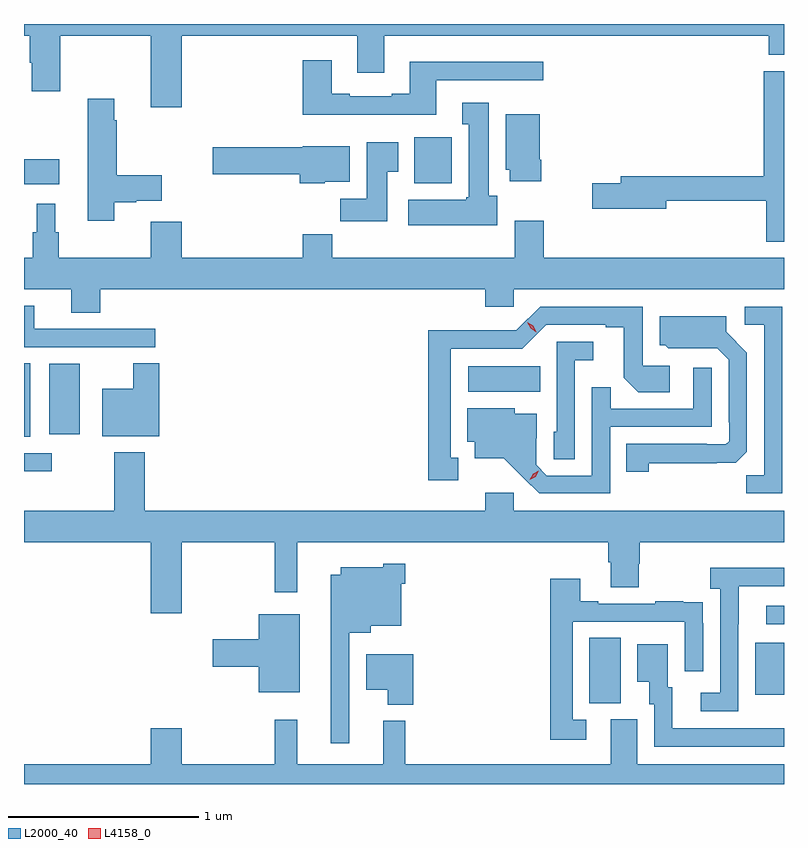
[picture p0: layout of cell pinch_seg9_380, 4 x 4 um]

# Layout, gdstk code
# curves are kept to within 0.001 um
import gdstk
lib = gdstk.Library(unit=1e-6, precision=1e-09)
def R(c, l, rs):  # rectangles x0, y0, x1, y1
    for r in rs: c.add(gdstk.rectangle(r[:2], r[2:], *l))
def P(c, l, *ps):  # polygons
    for p in ps: c.add(gdstk.Polygon(p, *l))
L2000_40 = (2000, 40)
L4158_0 = (4158, 0)

pinch_seg9_380 = lib.new_cell('pinch_seg9_380')
R(pinch_seg9_380, L2000_40, [(323.162,1232.869,323.326,1233.212), (324.035,1232.913,324.186,1233.187), (324.093,1233.285,324.186,1233.381), (320.186,1234.088,320.332,1234.185), (320.186,1234.27,320.218,1234.658), (320.318,1234.284,320.479,1234.654), (322.524,1234.508,322.904,1234.642), (320.186,1235.6,320.371,1235.73), (322.241,1235.606,322.438,1235.848)])
P(pinch_seg9_380, L2000_40, [(321.016,1236.38),(321.941,1236.38),(321.941,1236.186),(322.081,1236.186),(322.081,1236.38),(324.107,1236.38),(324.107,1236.281),(324.186,1236.281),(324.186,1236.443),(320.186,1236.443),(320.186,1236.38),(320.216,1236.38),(320.216,1236.238),(320.228,1236.238),(320.228,1236.09),(320.376,1236.09),(320.376,1236.38),(320.852,1236.38),(320.852,1236.006),(321.016,1236.006)],
  [(322.357,1236.147),(322.918,1236.147),(322.918,1236.244),(322.217,1236.244),(322.217,1236.076),(322.121,1236.076),(322.121,1236.063),(321.901,1236.063),(321.901,1236.076),(321.805,1236.076),(321.805,1236.253),(321.653,1236.253),(321.653,1235.966),(322.357,1235.966)],
  [(324.186,1236.194),(324.08,1236.194),(324.08,1235.642),(323.327,1235.642),(323.327,1235.606),(323.178,1235.606),(323.178,1235.471),(323.566,1235.471),(323.566,1235.514),(324.092,1235.514),(324.092,1235.298),(324.186,1235.298)],
  [(320.662,1235.506),(320.778,1235.506),(320.778,1235.513),(320.911,1235.513),(320.911,1235.648),(320.675,1235.648),(320.675,1235.936),(320.662,1235.936),(320.662,1236.049),(320.521,1236.049),(320.521,1235.834),(320.522,1235.834),(320.522,1235.408),(320.662,1235.408)],
  [(322.678,1235.538),(322.633,1235.538),(322.633,1236.028),(322.493,1236.028),(322.493,1235.915),(322.526,1235.915),(322.526,1235.532),(322.513,1235.532),(322.513,1235.518),(322.209,1235.518),(322.209,1235.384),(322.678,1235.384)],
  [(322.908,1235.728),(322.9,1235.728),(322.9,1235.968),(322.721,1235.968),(322.721,1235.676),(322.742,1235.676),(322.742,1235.616),(322.908,1235.616)],
  [(322.099,1235.665),(322.156,1235.665),(322.156,1235.821),(321.989,1235.821),(321.989,1235.524),(321.85,1235.524),(321.85,1235.406),(322.099,1235.406)],
  [(321.768,1235.612),(321.901,1235.612),(321.901,1235.8),(321.654,1235.8),(321.654,1235.795),(321.18,1235.795),(321.18,1235.653),(321.638,1235.653),(321.638,1235.606),(321.768,1235.606)],
  [(320.369,1235.346),(320.35,1235.346),(320.35,1235.497),(320.252,1235.497),(320.252,1235.346),(320.233,1235.346),(320.233,1235.212),(320.186,1235.212),(320.186,1235.048),(320.435,1235.048),(320.435,1234.924),(320.588,1234.924),(320.588,1235.048),(322.613,1235.048),(322.613,1234.955),(322.764,1234.955),(322.764,1235.048),(324.186,1235.048),(324.186,1235.212),(322.922,1235.212),(322.922,1235.407),(322.769,1235.407),(322.769,1235.212),(321.809,1235.212),(321.809,1235.336),(321.653,1235.336),(321.653,1235.212),(321.016,1235.212),(321.016,1235.401),(320.852,1235.401),(320.852,1235.212),(320.369,1235.212)],
  [(320.878,1234.839),(320.24,1234.839),(320.24,1234.959),(320.186,1234.959),(320.186,1234.743),(320.878,1234.743)],
  [(324.177,1234.956),(323.979,1234.956),(323.979,1234.86),(324.081,1234.86),(324.081,1234.067),(323.986,1234.067),(323.986,1233.972),(324.177,1233.972)],
  [(322.471,1234.161),(322.432,1234.161),(322.432,1234.734),(322.809,1234.734),(322.935,1234.86),(323.249,1234.86),(323.249,1234.848),(323.343,1234.848),(323.343,1234.58),(323.419,1234.504),(323.584,1234.504),(323.584,1234.644),(323.442,1234.644),(323.442,1234.956),(322.902,1234.956),(322.776,1234.83),(322.554,1234.83),(322.554,1234.832),(322.314,1234.832),(322.314,1234.041),(322.471,1234.041)],
  [(323.475,1234.132),(323.932,1234.133),(323.991,1234.192),(323.991,1234.714),(323.881,1234.824),(323.881,1234.906),(323.531,1234.906),(323.531,1234.752),(323.562,1234.752),(323.578,1234.736),(323.835,1234.737),(323.895,1234.677),(323.895,1234.348),(323.898,1234.348),(323.898,1234.248),(323.88,1234.23),(323.78,1234.23),(323.78,1234.233),(323.356,1234.233),(323.356,1234.086),(323.475,1234.086)],
  [(323.085,1234.673),(323.182,1234.673),(323.182,1234.77),(322.989,1234.77),(322.989,1234.296),(322.974,1234.296),(322.974,1234.153),(323.085,1234.153)],
  [(320.897,1234.658),(320.762,1234.658),(320.762,1234.522),(320.597,1234.522),(320.597,1234.274),(320.897,1234.274)],
  [(323.271,1234.323),(323.805,1234.323),(323.805,1234.633),(323.709,1234.633),(323.709,1234.419),(323.273,1234.419),(323.273,1234.532),(323.175,1234.532),(323.175,1234.065),(322.938,1234.065),(322.881,1234.122),(322.881,1234.264),(322.885,1234.264),(322.885,1234.393),(322.77,1234.393),(322.77,1234.42),(322.52,1234.42),(322.52,1234.244),(322.559,1234.244),(322.559,1234.157),(322.711,1234.157),(322.898,1233.972),(323.271,1233.972)],
  [(321.016,1233.716),(321.505,1233.716),(321.505,1233.453),(321.624,1233.453),(321.624,1233.716),(323.261,1233.716),(323.261,1233.61),(323.273,1233.61),(323.273,1233.478),(323.421,1233.478),(323.421,1233.603),(323.426,1233.603),(323.426,1233.716),(324.186,1233.716),(324.186,1233.88),(322.764,1233.88),(322.764,1233.976),(322.613,1233.976),(322.613,1233.88),(320.822,1233.88),(320.822,1234.189),(320.662,1234.189),(320.662,1233.88),(320.186,1233.88),(320.186,1233.716),(320.852,1233.716),(320.852,1233.342),(321.016,1233.342)],
  [(321.897,1233.239),(322.012,1233.239),(322.012,1233.275),(322.171,1233.275),(322.171,1233.497),(322.193,1233.497),(322.193,1233.601),(322.077,1233.601),(322.077,1233.583),(321.854,1233.583),(321.854,1233.544),(321.8,1233.544),(321.8,1232.658),(321.897,1232.658)],
  [(323.946,1233.283),(323.947,1233.283),(323.947,1233.483),(324.186,1233.483),(324.186,1233.58),(323.799,1233.58),(323.799,1233.47),(323.85,1233.47),(323.85,1232.922),(323.748,1232.922),(323.748,1232.826),(323.946,1232.826)],
  [(323.146,1232.781),(323.073,1232.781),(323.073,1233.297),(323.664,1233.297),(323.664,1233.036),(323.76,1233.036),(323.76,1233.29),(323.759,1233.29),(323.759,1233.399),(323.657,1233.399),(323.657,1233.406),(323.509,1233.406),(323.509,1233.393),(323.209,1233.393),(323.209,1233.406),(323.113,1233.406),(323.113,1233.523),(322.957,1233.523),(322.957,1232.676),(323.146,1232.676)],
  [(321.637,1233.337),(321.422,1233.337),(321.422,1233.206),(321.18,1233.206),(321.18,1233.059),(321.422,1233.059),(321.422,1232.927),(321.637,1232.927)],
  [(324.186,1232.737),(324.083,1232.737),(324.083,1232.736),(323.599,1232.736),(323.599,1232.952),(323.575,1232.952),(323.575,1233.178),(323.414,1233.178),(323.414,1232.981),(323.477,1232.981),(323.477,1232.862),(323.502,1232.862),(323.502,1232.64),(324.186,1232.64)],
  [(322.235,1233.127),(321.986,1233.127),(321.986,1232.939),(322.1,1232.939),(322.1,1232.861),(322.235,1232.861)],
  [(324.186,1232.548),(323.413,1232.548),(323.413,1232.784),(323.273,1232.784),(323.273,1232.548),(322.193,1232.548),(322.193,1232.776),(322.076,1232.776),(322.076,1232.548),(321.623,1232.548),(321.623,1232.782),(321.505,1232.782),(321.505,1232.548),(321.016,1232.548),(321.016,1232.737),(320.852,1232.737),(320.852,1232.548),(320.186,1232.548),(320.186,1232.443),(324.186,1232.443)])
P(pinch_seg9_380, L4158_0, [(322.849,1234.045),(322.849,1234.045),(322.865,1234.075),(322.895,1234.091),(322.896,1234.091),(322.896,1234.091),(322.879,1234.061),(322.849,1234.045)],
  [(322.883,1234.821),(322.852,1234.841),(322.835,1234.874),(322.835,1234.874),(322.835,1234.874),(322.866,1234.854),(322.883,1234.822),(322.883,1234.821)])

lib.write_gds('pinch_seg9_380.gds')
